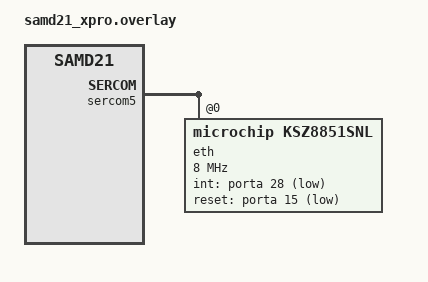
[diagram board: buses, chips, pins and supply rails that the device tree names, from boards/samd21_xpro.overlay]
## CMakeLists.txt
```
cmake_minimum_required(VERSION 3.20.0)

find_package(Zephyr REQUIRED HINTS $ENV{ZEPHYR_BASE})

project(servidor_rede LANGUAGES C)

target_sources(app PRIVATE src/main.c)
```

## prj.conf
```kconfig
CONFIG_PRINTK=y
CONFIG_LOG=y
CONFIG_LOG_MODE_MINIMAL=y

CONFIG_NETWORKING=y
CONFIG_NET_IPV4=y
CONFIG_NET_TCP=y
CONFIG_NET_SOCKETS=y
CONFIG_NET_L2_ETHERNET=y
CONFIG_ETH_DRIVER=y

CONFIG_NET_CONFIG_SETTINGS=y
CONFIG_NET_DHCPV4=y
CONFIG_NET_CONFIG_INIT_TIMEOUT=1

CONFIG_NET_MGMT_EVENT=y
CONFIG_NET_MGMT_EVENT_INFO=y
CONFIG_NET_MGMT_EVENT_STACK_SIZE=768

CONFIG_NET_PKT_RX_COUNT=6
CONFIG_NET_PKT_TX_COUNT=6
CONFIG_NET_BUF_RX_COUNT=12
CONFIG_NET_BUF_TX_COUNT=12
CONFIG_NET_MAX_CONTEXTS=4
CONFIG_NET_MAX_CONN=4
CONFIG_NET_TCP_WORKQ_STACK_SIZE=768
CONFIG_NET_RX_STACK_SIZE=1024
CONFIG_NET_TX_STACK_SIZE=1024
CONFIG_SYSTEM_WORKQUEUE_STACK_SIZE=1280
CONFIG_MAIN_STACK_SIZE=1024
CONFIG_STACK_SENTINEL=y

CONFIG_TEST_RANDOM_GENERATOR=y
```

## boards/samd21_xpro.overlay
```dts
/*
 * Ethernet1 Xplained Pro (KSZ8851SNL) no EXT3 da SAM D21 Xplained Pro.
 *
 * EXT3:
 *   PB17 -> CS
 *   PB22 -> MOSI
 *   PB16 -> MISO
 *   PB23 -> SCK
 *   PA28 -> INTRN
 *   PA15 -> nRST
 */

&pinctrl {
	sercom5_spi_ext3: sercom5_spi_ext3 {
		group1 {
			pinmux = <PB16C_SERCOM5_PAD0>,
				 <PB22D_SERCOM5_PAD2>,
				 <PB23D_SERCOM5_PAD3>;
		};
	};
};

/* PB30 e PA15 são compartilhados com dispositivos da placa. */
/delete-node/ &pwm_led0;
/delete-node/ &led0;
/delete-node/ &user_button;

/ {
	aliases {
		/delete-property/ led0;
		/delete-property/ pwm-led0;
		/delete-property/ sw0;
	};
};

&tcc0 {
	status = "disabled";
};

&sercom5 {
	status = "okay";
	dipo = <0>;
	dopo = <1>;
	pinctrl-0 = <&sercom5_spi_ext3>;
	cs-gpios = <&portb 17 GPIO_ACTIVE_LOW>,
		   <&porta 13 GPIO_ACTIVE_LOW>;

	eth: ksz8851snl@0 {
		compatible = "microchip,ksz8851snl";
		reg = <0>;
		spi-max-frequency = <8000000>;
		int-gpios = <&porta 28 GPIO_ACTIVE_LOW>;
		reset-gpios = <&porta 15 GPIO_ACTIVE_LOW>;
		local-mac-address = [02 00 00 00 00 0c];
	};
};
```

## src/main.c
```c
#include <zephyr/kernel.h>
#include <zephyr/net/net_if.h>
#include <zephyr/net/net_mgmt.h>
#include <zephyr/net/net_event.h>
#include <zephyr/sys/printk.h>

static struct net_mgmt_event_callback net_cb;

static void print_ipv4(struct net_if *iface)
{
	struct net_in_addr *addr;
	char text[NET_IPV4_ADDR_LEN];

	addr = net_if_ipv4_get_global_addr(iface, NET_ADDR_PREFERRED);
	if (addr == NULL) {
		printk("IPv4 ainda nao esta disponivel\r\n");
		return;
	}

	net_addr_ntop(AF_INET, addr, text, sizeof(text));
	printk("IP obtido por DHCP: %s\r\n", text);
}

static void net_event_handler(struct net_mgmt_event_callback *cb,
			      uint64_t event, struct net_if *iface)
{
	ARG_UNUSED(cb);

	if (event == NET_EVENT_IF_UP) {
		printk("Interface Ethernet ativa\r\n");
		print_ipv4(iface);
	} else if (event == NET_EVENT_IPV4_ADDR_ADD) {
		printk("Endereco IPv4 adicionado\r\n");
		print_ipv4(iface);
	}
}

int main(void)
{
	struct net_if *iface = net_if_get_default();

	printk("\r\nTeste Ethernet1 KSZ8851SNL no EXT3\r\n");
	printk("Aguardando link e DHCP...\r\n");

	net_mgmt_init_event_callback(&net_cb, net_event_handler,
				     NET_EVENT_IF_UP | NET_EVENT_IPV4_ADDR_ADD);
	net_mgmt_add_event_callback(&net_cb);

	while (true) {
		if (iface != NULL && net_if_is_up(iface)) {
			print_ipv4(iface);
		}
		k_sleep(K_SECONDS(5));
	}

	return 0;
}
```
